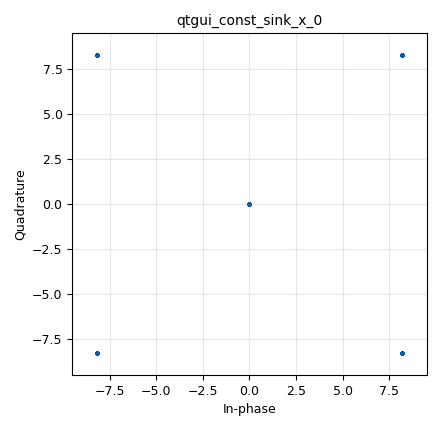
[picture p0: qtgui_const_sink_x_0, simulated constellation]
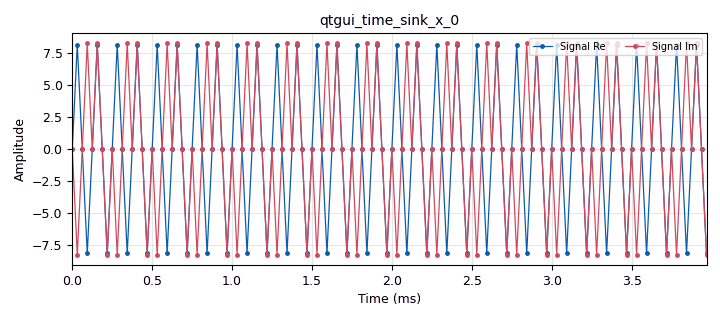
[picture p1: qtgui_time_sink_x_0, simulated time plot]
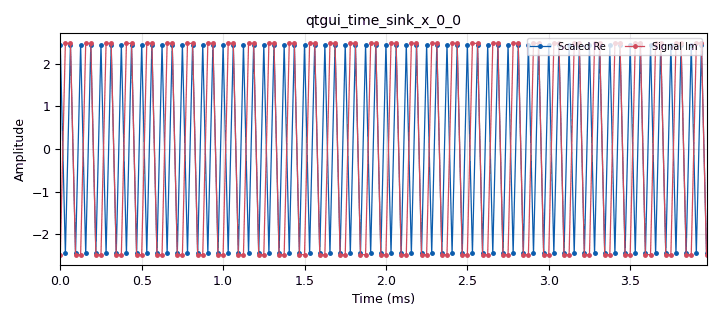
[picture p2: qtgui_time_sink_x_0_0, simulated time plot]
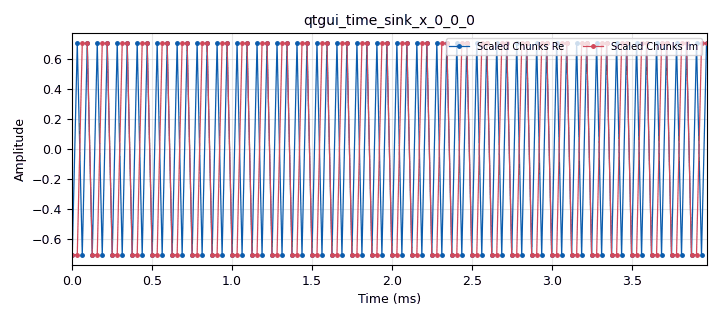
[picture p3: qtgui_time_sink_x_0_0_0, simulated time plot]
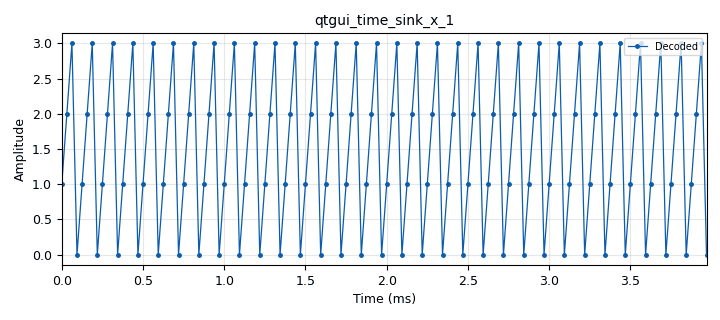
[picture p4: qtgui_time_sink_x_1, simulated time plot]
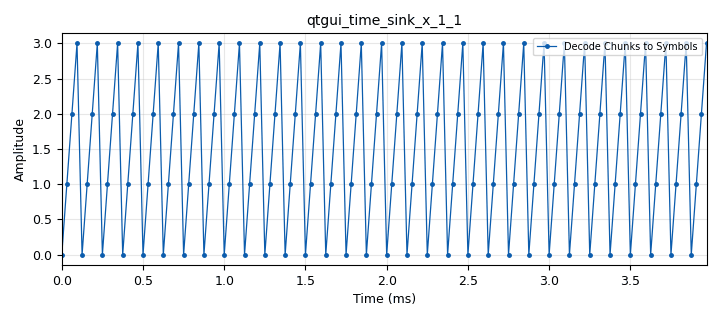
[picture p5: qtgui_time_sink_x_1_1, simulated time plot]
options:
  parameters:
    author: jason
    generate_options: qt_gui
    generator_class_name: PythonQtGuiGenerator
    generator_module: gnuradio.grc.workflows.python_qt_gui
    id: lesson16_Constellation_Plot
    output_language: python
    title: constellationPlot
  states: {}

blocks:
- name: constellation
  id: variable_constellation
  parameters:
    precision: '8'
    type: qpsk
  states: {}
- name: constellation
  id: variable_constellation
  parameters:
    comment: |-
      normalize_points Normalize constellation points 
      to mean(abs(points))=1 (default is true)
    const_points: symbol_table
    dims: '1'
    normalization: digital.constellation.AMPLITUDE_NORMALIZATION
    precision: '8'
    rot_sym: '1'
    sym_map: '[0, 1, 2,3]'
    type: calcdist
  states: {state: disabled}
- name: gain
  id: variable_qtgui_range
  parameters:
    start: '0'
    step: '.001'
    stop: '5'
    value: '0.3'
  states: {}
- name: gain_chunk
  id: variable_qtgui_range
  parameters:
    start: '0'
    step: '.001'
    stop: '5'
    value: 1/np.mean(np.abs(symbol_table))
  states: {}
- name: samp_rate
  id: variable
  parameters:
    value: '32000'
  states: {}
- name: sps
  id: variable
  parameters:
    comment: |-
      If sps is a power of 2,
      with plenty of excess BW,
      this puts the constellation point down every sps'th sample,
      leaving the other points zero.
      For a power of 2, the output doesn't slosh around
    value: '2'
  states: {}
- name: symbol_table
  id: variable
  parameters:
    value: '[1,2,3,4]'
  states: {state: disabled}
- name: symbol_table
  id: variable
  parameters:
    value: '[-1.5, -0.5, +0.5, +1.5]'
  states: {state: disabled}
- name: symbol_table
  id: variable
  parameters:
    value: '[-5,2,3,10]'
  states: {state: disabled}
- name: symbol_table
  id: variable
  parameters:
    value: '[-1-1j, -1+1j, 1+1j, 1-1j]'
  states: {state: disabled}
- name: symbol_table
  id: variable
  parameters:
    value: '[-2,-1,1,2]'
  states: {state: disabled}
- name: symbol_table
  id: variable
  parameters:
    value: constellation.points()
  states: {}
- name: analog_const_source_x_0
  id: analog_const_source_x
  parameters:
    const: '0'
    type: byte
  states: {}
- name: analog_const_source_x_0_0
  id: analog_const_source_x
  parameters:
    const: '1'
    type: byte
  states: {}
- name: analog_const_source_x_0_0_0
  id: analog_const_source_x
  parameters:
    const: '2'
    type: byte
  states: {}
- name: analog_const_source_x_0_0_0_0
  id: analog_const_source_x
  parameters:
    const: '3'
    type: byte
  states: {}
- name: blocks_char_to_float_0
  id: blocks_char_to_float
  parameters:
    scale: '1'
  states: {}
- name: blocks_char_to_float_0_0
  id: blocks_char_to_float
  parameters:
    scale: '1'
  states: {}
- name: blocks_char_to_float_1
  id: blocks_char_to_float
  parameters:
    scale: '1'
  states: {}
- name: blocks_char_to_float_1_0
  id: blocks_char_to_float
  parameters:
    scale: '1'
  states: {}
- name: blocks_char_to_float_1_0_0
  id: blocks_char_to_float
  parameters:
    scale: '1'
  states: {}
- name: blocks_delay_0
  id: blocks_delay
  parameters:
    delay: sps-1
    type: complex
  states: {}
- name: blocks_keep_one_in_n_0
  id: blocks_keep_one_in_n
  parameters:
    n: sps
    type: complex
  states: {}
- name: blocks_multiply_const_vxx_0
  id: blocks_multiply_const_vxx
  parameters:
    const: gain
    type: complex
  states: {}
- name: blocks_multiply_const_vxx_0_0
  id: blocks_multiply_const_vxx
  parameters:
    const: gain_chunk
    type: complex
  states: {}
- name: blocks_pack_k_bits_bb_0
  id: blocks_pack_k_bits_bb
  parameters:
    k: '2'
  states: {}
- name: blocks_packed_to_unpacked_xx_1
  id: blocks_packed_to_unpacked_xx
  parameters:
    bits_per_chunk: '2'
    endianness: gr.GR_MSB_FIRST
    type: byte
  states: {}
- name: blocks_unpacked_to_packed_xx_0
  id: blocks_unpacked_to_packed_xx
  parameters:
    bits_per_chunk: '1'
    endianness: gr.GR_MSB_FIRST
    type: byte
  states: {}
- name: blocks_unpacked_to_packed_xx_0_0
  id: blocks_unpacked_to_packed_xx
  parameters:
    bits_per_chunk: '2'
    endianness: gr.GR_MSB_FIRST
    type: byte
  states: {}
- name: blocks_vector_source_x_0
  id: blocks_vector_source_x
  parameters:
    repeat: 'True'
    type: byte
    vector: '[0,1,0,1,0,0,0,1,1,0,0,0,1,1,1,1]'
  states: {state: disabled}
- name: blocks_vector_source_x_0_0
  id: blocks_vector_source_x
  parameters:
    repeat: 'True'
    type: byte
    vector: '[0,0,0,0,1,1,1,1]'
  states: {state: disabled}
- name: blocks_vector_source_x_0_1
  id: blocks_vector_source_x
  parameters:
    repeat: 'True'
    type: byte
    vector: '[0,0, 0,1, 1,0, 1,1]'
  states: {}
- name: blocks_vector_source_x_0_1_0_0
  id: blocks_vector_source_x
  parameters:
    repeat: 'True'
    type: byte
    vector: '[0,1,2,3]'
  states: {}
- name: digital_chunks_to_symbols_xx_0_0
  id: digital_chunks_to_symbols_xx
  parameters:
    dimension: '1'
    in_type: byte
    out_type: complex
    symbol_table: symbol_table
  states: {}
- name: digital_chunks_to_symbols_xx_0_0_0
  id: digital_chunks_to_symbols_xx
  parameters:
    dimension: '1'
    in_type: byte
    out_type: complex
    symbol_table: symbol_table
  states: {}
- name: digital_chunks_to_symbols_xx_0_0_0_0
  id: digital_chunks_to_symbols_xx
  parameters:
    dimension: '1'
    in_type: byte
    out_type: complex
    symbol_table: symbol_table
  states: {}
- name: digital_chunks_to_symbols_xx_0_0_0_0_0
  id: digital_chunks_to_symbols_xx
  parameters:
    dimension: '1'
    in_type: byte
    out_type: complex
    symbol_table: symbol_table
  states: {}
- name: digital_chunks_to_symbols_xx_0_0_0_0_0_0
  id: digital_chunks_to_symbols_xx
  parameters:
    dimension: '1'
    in_type: byte
    out_type: complex
    symbol_table: symbol_table
  states: {}
- name: digital_constellation_decoder_cb_0
  id: digital_constellation_decoder_cb
  parameters:
    constellation: constellation
  states: {}
- name: digital_constellation_decoder_cb_0_0
  id: digital_constellation_decoder_cb
  parameters:
    constellation: constellation
  states: {}
- name: digital_constellation_modulator_0
  id: digital_constellation_modulator
  parameters:
    constellation: constellation
    differential: 'False'
    excess_bw: sps*4
    samples_per_symbol: sps
  states: {}
- name: digital_constellation_soft_decoder_cf_0
  id: digital_constellation_soft_decoder_cf
  parameters:
    constellation: constellation
    npwr: '-1'
  states: {state: disabled}
- name: import_0
  id: import
  parameters:
    imports: |-
      import numpy as np
      from gnuradio import gr
  states: {}
- name: qtgui_const_sink_x_0
  id: qtgui_const_sink_x
  parameters:
    autoscale: 'True'
    size: '1024'
    tr_level: '2.5'
    tr_mode: qtgui.TRIG_MODE_AUTO
    type: complex
  states: {}
- name: qtgui_const_sink_x_1
  id: qtgui_const_sink_x
  parameters:
    label1: Symbol 0 (00b)
    label2: Symbol 1 (01b)
    label3: Symbol 2 (10b)
    label4: Symbol 3 (11b)
    nconnections: '4'
    size: '1024'
    type: complex
  states: {}
- name: qtgui_time_sink_x_0
  id: qtgui_time_sink_x
  parameters:
    autoscale: 'True'
    label1: Signal Re
    label2: Signal Im
    marker1: '0'
    marker2: '0'
    size: '128'
    srate: samp_rate
    tr_level: '2.5'
    tr_mode: qtgui.TRIG_MODE_AUTO
    type: complex
    ymax: '10'
    ymin: '-10'
  states: {}
- name: qtgui_time_sink_x_0_0
  id: qtgui_time_sink_x
  parameters:
    autoscale: 'True'
    label1: Scaled Re
    label2: Signal Im
    marker1: '0'
    marker2: '0'
    size: '128'
    srate: samp_rate
    tr_level: '2.5'
    type: complex
    ymax: '10'
    ymin: '-10'
  states: {}
- name: qtgui_time_sink_x_0_0_0
  id: qtgui_time_sink_x
  parameters:
    autoscale: 'True'
    label1: Scaled Chunks Re
    label2: Scaled Chunks Im
    marker1: '0'
    marker2: '0'
    size: '128'
    srate: samp_rate
    tr_level: '2.5'
    type: complex
    ymax: '10'
    ymin: '-10'
  states: {}
- name: qtgui_time_sink_x_1
  id: qtgui_time_sink_x
  parameters:
    autoscale: 'True'
    label1: Decoded
    marker1: '0'
    size: '128'
    srate: samp_rate
    type: float
  states: {}
- name: qtgui_time_sink_x_1_0
  id: qtgui_time_sink_x
  parameters:
    autoscale: 'True'
    label1: Soft Decoded
    marker1: '0'
    size: '128'
    srate: samp_rate
    type: float
  states: {state: disabled}
- name: qtgui_time_sink_x_1_1
  id: qtgui_time_sink_x
  parameters:
    autoscale: 'True'
    label1: Decode Chunks to Symbols
    marker1: '0'
    size: '128'
    srate: samp_rate
    type: float
  states: {}
- name: qtgui_time_sink_x_1_1_0
  id: qtgui_time_sink_x
  parameters:
    autoscale: 'True'
    label1: Packed to Unpacked
    label2: Pack K Bits
    label3: Direct Input
    marker1: '0'
    nconnections: '3'
    size: '128'
    srate: samp_rate
    type: float
  states: {}

connections:
- [analog_const_source_x_0, '0', digital_chunks_to_symbols_xx_0_0_0, '0']
- [analog_const_source_x_0_0, '0', digital_chunks_to_symbols_xx_0_0_0_0, '0']
- [analog_const_source_x_0_0_0, '0', digital_chunks_to_symbols_xx_0_0_0_0_0_0, '0']
- [analog_const_source_x_0_0_0_0, '0', digital_chunks_to_symbols_xx_0_0_0_0_0, '0']
- [blocks_char_to_float_0, '0', qtgui_time_sink_x_1, '0']
- [blocks_char_to_float_0_0, '0', qtgui_time_sink_x_1_1, '0']
- [blocks_char_to_float_1, '0', qtgui_time_sink_x_1_1_0, '0']
- [blocks_char_to_float_1_0, '0', qtgui_time_sink_x_1_1_0, '1']
- [blocks_char_to_float_1_0_0, '0', qtgui_time_sink_x_1_1_0, '2']
- [blocks_delay_0, '0', blocks_keep_one_in_n_0, '0']
- [blocks_keep_one_in_n_0, '0', blocks_multiply_const_vxx_0, '0']
- [blocks_multiply_const_vxx_0, '0', digital_constellation_decoder_cb_0, '0']
- [blocks_multiply_const_vxx_0, '0', digital_constellation_soft_decoder_cf_0, '0']
- [blocks_multiply_const_vxx_0, '0', qtgui_time_sink_x_0_0, '0']
- [blocks_multiply_const_vxx_0_0, '0', digital_constellation_decoder_cb_0_0, '0']
- [blocks_multiply_const_vxx_0_0, '0', qtgui_time_sink_x_0_0_0, '0']
- [blocks_pack_k_bits_bb_0, '0', blocks_char_to_float_1_0, '0']
- [blocks_packed_to_unpacked_xx_1, '0', blocks_char_to_float_1, '0']
- [blocks_packed_to_unpacked_xx_1, '0', digital_chunks_to_symbols_xx_0_0, '0']
- [blocks_unpacked_to_packed_xx_0, '0', blocks_packed_to_unpacked_xx_1, '0']
- [blocks_unpacked_to_packed_xx_0_0, '0', digital_constellation_modulator_0, '0']
- [blocks_vector_source_x_0, '0', blocks_unpacked_to_packed_xx_0, '0']
- [blocks_vector_source_x_0_0, '0', blocks_unpacked_to_packed_xx_0, '0']
- [blocks_vector_source_x_0_1, '0', blocks_pack_k_bits_bb_0, '0']
- [blocks_vector_source_x_0_1, '0', blocks_unpacked_to_packed_xx_0, '0']
- [blocks_vector_source_x_0_1_0_0, '0', blocks_char_to_float_1_0_0, '0']
- [blocks_vector_source_x_0_1_0_0, '0', blocks_unpacked_to_packed_xx_0_0, '0']
- [digital_chunks_to_symbols_xx_0_0, '0', blocks_multiply_const_vxx_0_0, '0']
- [digital_chunks_to_symbols_xx_0_0_0, '0', qtgui_const_sink_x_1, '0']
- [digital_chunks_to_symbols_xx_0_0_0_0, '0', qtgui_const_sink_x_1, '1']
- [digital_chunks_to_symbols_xx_0_0_0_0_0, '0', qtgui_const_sink_x_1, '3']
- [digital_chunks_to_symbols_xx_0_0_0_0_0_0, '0', qtgui_const_sink_x_1, '2']
- [digital_constellation_decoder_cb_0, '0', blocks_char_to_float_0, '0']
- [digital_constellation_decoder_cb_0_0, '0', blocks_char_to_float_0_0, '0']
- [digital_constellation_modulator_0, '0', blocks_delay_0, '0']
- [digital_constellation_modulator_0, '0', qtgui_const_sink_x_0, '0']
- [digital_constellation_modulator_0, '0', qtgui_time_sink_x_0, '0']
- [digital_constellation_soft_decoder_cf_0, '0', qtgui_time_sink_x_1_0, '0']

metadata:
  file_format: 1
  grc_version: 3.10.12.0
